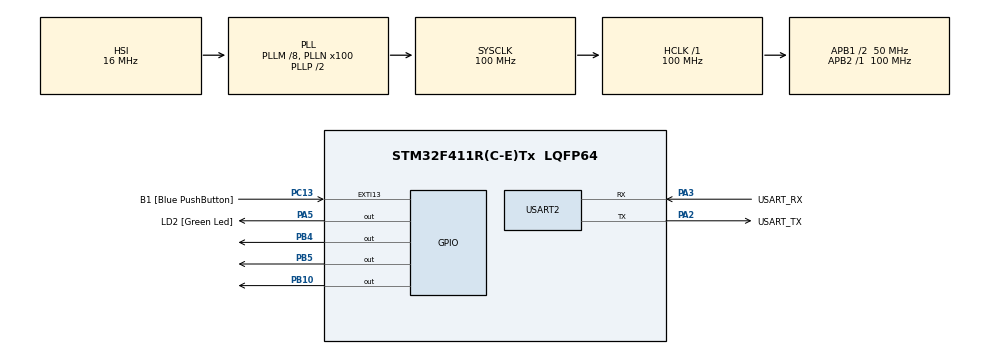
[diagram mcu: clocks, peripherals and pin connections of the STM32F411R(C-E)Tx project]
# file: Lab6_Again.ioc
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FREERTOS.Mutexes01=myMutex01,Dynamic,NULL
FREERTOS.Queues01=myQueue01,16,32,1,Static,myQueue01Buffer,myQueue01ControlBlock
FREERTOS.Tasks01=defaultTask,24,128,StartDefaultTask,Default,NULL,Dynamic,NULL,NULL
FREERTOS.Timers01=myTimer01,Callback01,osTimerPeriodic,Default,NULL,Dynamic,NULL;myTimer02,Callback02,osTimerPeriodic,Default,NULL,Dynamic,NULL;myTimer03,Callback03,osTimerPeriodic,Default,NULL,Dynamic,NULL;myTimer04,Callback04,osTimerPeriodic,Default,NULL,Dynamic,NULL
Mcu.Family=STM32F4
Mcu.Name=STM32F411R(C-E)Tx
Mcu.Package=LQFP64
NVIC.PriorityGroup=NVIC_PRIORITYGROUP_4
PA13.GPIO_Label=TMS
PA13.Mode=Serial_Wire
PA13.Signal=SYS_JTMS-SWDIO
PA14.GPIO_Label=TCK
PA14.Mode=Serial_Wire
PA14.Signal=SYS_JTCK-SWCLK
PA2.GPIO_Label=USART_TX
PA2.Mode=Asynchronous
PA2.Signal=USART2_TX
PA3.GPIO_Label=USART_RX
PA3.Mode=Asynchronous
PA3.Signal=USART2_RX
PA5.GPIO_Label=LD2 [Green Led]
PA5.Signal=GPIO_Output
PB10.Signal=GPIO_Output
PB3.GPIO_Label=SWO
PB3.Signal=SYS_JTDO-SWO
PB4.Signal=GPIO_Output
PB5.Signal=GPIO_Output
PC13-ANTI_TAMP.GPIO_Label=B1 [Blue PushButton]
PC13-ANTI_TAMP.GPIO_ModeDefaultEXTI=GPIO_MODE_IT_FALLING
PC13-ANTI_TAMP.Signal=GPXTI13
PC14-OSC32_IN.Mode=LSE-External-Oscillator
PC14-OSC32_IN.Signal=RCC_OSC32_IN
PC15-OSC32_OUT.Mode=LSE-External-Oscillator
PC15-OSC32_OUT.Signal=RCC_OSC32_OUT
PH0\ -\ OSC_IN.Mode=HSE-External-Clock-Source
PH0\ -\ OSC_IN.Signal=RCC_OSC_IN
PH1\ -\ OSC_OUT.Mode=HSE-External-Clock-Source
PH1\ -\ OSC_OUT.Signal=RCC_OSC_OUT
ProjectManager.HeapSize=0x200
ProjectManager.StackSize=0x400
ProjectManager.TargetToolchain=STM32CubeIDE
RCC.48MHZClocksFreq_Value=50000000
RCC.AHBFreq_Value=100000000
RCC.APB1CLKDivider=RCC_HCLK_DIV2
RCC.APB1Freq_Value=50000000
RCC.APB1TimFreq_Value=100000000
RCC.APB2Freq_Value=100000000
RCC.APB2TimFreq_Value=100000000
RCC.CortexFreq_Value=100000000
RCC.FLatency-AdvancedSettings=FLASH_LATENCY_3
RCC.HCLKFreq_Value=100000000
RCC.HSE_VALUE=8000000
RCC.HSI_VALUE=16000000
RCC.PLLM=8
RCC.PLLN=100
RCC.SYSCLKFreq_VALUE=100000000
RCC.SYSCLKSource=RCC_SYSCLKSOURCE_PLLCLK
RCC.VCOOutputFreq_Value=200000000
USART2.VirtualMode=VM_ASYNC
VP_FREERTOS_VS_CMSIS_V2.Mode=CMSIS_V2
board=NUCLEO-F411RE

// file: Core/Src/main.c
/* USER CODE BEGIN Header */
/**
  ******************************************************************************
  * @file           : main.c
  * @brief          : Main program body
  ******************************************************************************
  * @attention
  *
  * Copyright (c) 2023 STMicroelectronics.
  * All rights reserved.
  *
  * This software is licensed under terms that can be found in the LICENSE file
  * in the root directory of this software component.
  * If no LICENSE file comes with this software, it is provided AS-IS.
  *
  ******************************************************************************
  */
/* USER CODE END Header */
#include "main.h"
#include "cmsis_os.h"

typedef StaticQueue_t osStaticMessageQDef_t;

UART_HandleTypeDef huart2;

/* Definitions for defaultTask */
osThreadId_t defaultTaskHandle;
const osThreadAttr_t defaultTask_attributes = {
  .name = "defaultTask",
  .stack_size = 128 * 4,
  .priority = (osPriority_t) osPriorityNormal,
};
/* Definitions for myQueue01 */
osMessageQueueId_t myQueue01Handle;
uint8_t myQueue01Buffer[ 16 * 32 ];
osStaticMessageQDef_t myQueue01ControlBlock;
const osMessageQueueAttr_t myQueue01_attributes = {
  .name = "myQueue01",
  .cb_mem = &myQueue01ControlBlock,
  .cb_size = sizeof(myQueue01ControlBlock),
  .mq_mem = &myQueue01Buffer,
  .mq_size = sizeof(myQueue01Buffer)
};
/* Definitions for myTimer01 */
osTimerId_t myTimer01Handle;
const osTimerAttr_t myTimer01_attributes = {
  .name = "myTimer01"
};
/* Definitions for myTimer02 */
osTimerId_t myTimer02Handle;
const osTimerAttr_t myTimer02_attributes = {
  .name = "myTimer02"
};
/* Definitions for myTimer03 */
osTimerId_t myTimer03Handle;
const osTimerAttr_t myTimer03_attributes = {
  .name = "myTimer03"
};
/* Definitions for myTimer04 */
osTimerId_t myTimer04Handle;
const osTimerAttr_t myTimer04_attributes = {
  .name = "myTimer04"
};
/* Definitions for myMutex01 */
osMutexId_t myMutex01Handle;
const osMutexAttr_t myMutex01_attributes = {
  .name = "myMutex01"
};

void SystemClock_Config(void);
static void MX_GPIO_Init(void);
static void MX_USART2_UART_Init(void);
void StartDefaultTask(void *argument);
void Callback01(void *argument);
void Callback02(void *argument);
void Callback03(void *argument);
void Callback04(void *argument);

/* USER CODE BEGIN PFP */
void LED1_Thread(void *argument){
//	Lab 6-1
	while(1){
		HAL_GPIO_TogglePin(GPIOA, GPIO_PIN_5);
		osDelay(50);
	}
}
void LED2_Thread(void *argument){
//	Lab 6-1
	while(1){
		HAL_GPIO_TogglePin(GPIOB, GPIO_PIN_10);
		osDelay(18);
	}
}
void LED3_Thread(void *argument){
//	Lab 6-1
	while(1){
		HAL_GPIO_TogglePin(GPIOB, GPIO_PIN_4);
		osDelay(128);
	}
}
void LED4_Thread(void *argument){
//	Lab 6-1
	while(1){
		HAL_GPIO_TogglePin(GPIOB, GPIO_PIN_5);
		osDelay(64);
	}
}
void UART0_Thread(void *argument){
	int threadID = 0; // threadID is 0 for one thread and 1 for another
	int idx = 0;
	char buffer[32];
	while(1) {
//		osMutexWait(myMutex01Handle,osWaitForever);
		sprintf(buffer, "TID: %d %d\r\n", threadID, idx);
		idx ++;
//		HAL_UART_Transmit(&huart2, buffer, strlen(buffer), 1000);
//		osMutexRelease(myMutex01Handle);
		osDelay(10);
		osMessageQueuePut(myQueue01Handle, buffer, 0, 0);
	}
}
void UART1_Thread(void *argument){
	int threadID = 1; // threadID is 0 for one thread and 1 for another
	int idx = 0;
	char buffer[32];
	while(1) {
//		osMutexWait(myMutex01Handle,osWaitForever);
		sprintf(buffer, "TID: %d %d\r\n", threadID, idx);
		idx ++;
//		HAL_UART_Transmit(&huart2, buffer, strlen(buffer), 1000);
//		osMutexRelease(myMutex01Handle);
		osDelay(10);
		osMessageQueuePut(myQueue01Handle, buffer, 0, 0);
	}
}
void Queue_Thread(void *argument){
	while(1){
		char buffer[32];
		osStatus_t status = osMessageQueueGet(myQueue01Handle, buffer, NULL, 0);
		if(status == osOK){
			HAL_UART_Transmit(&huart2, buffer, strlen(buffer), 1000);
		}
	}
}
/* USER CODE END PFP */

int main(void)
{

  /* MCU Configuration--------------------------------------------------------*/

  /* Reset of all peripherals, Initializes the Flash interface and the Systick. */
  HAL_Init();

  /* Configure the system clock */
  SystemClock_Config();

  /* Initialize all configured peripherals */
  MX_GPIO_Init();
  MX_USART2_UART_Init();

  /* Init scheduler */
  osKernelInitialize();
  /* Create the mutex(es) */
  /* creation of myMutex01 */
  myMutex01Handle = osMutexNew(&myMutex01_attributes);

  /* Create the timer(s) */
  /* creation of myTimer01 */
  myTimer01Handle = osTimerNew(Callback01, osTimerPeriodic, NULL, &myTimer01_attributes);

  /* creation of myTimer02 */
  myTimer02Handle = osTimerNew(Callback02, osTimerPeriodic, NULL, &myTimer02_attributes);

  /* creation of myTimer03 */
  myTimer03Handle = osTimerNew(Callback03, osTimerPeriodic, NULL, &myTimer03_attributes);

  /* creation of myTimer04 */
  myTimer04Handle = osTimerNew(Callback04, osTimerPeriodic, NULL, &myTimer04_attributes);

  /* Create the queue(s) */
  /* creation of myQueue01 */
  myQueue01Handle = osMessageQueueNew (16, 32, &myQueue01_attributes);

  /* Create the thread(s) */
  /* creation of defaultTask */
  defaultTaskHandle = osThreadNew(StartDefaultTask, NULL, &defaultTask_attributes);

  /* USER CODE BEGIN RTOS_THREADS */
  /* add threads, ... */
//  Lab 6-1
  osThreadId_t thread_led1 = osThreadNew(LED1_Thread, NULL, NULL);
  osThreadId_t thread_led2 = osThreadNew(LED2_Thread, NULL, NULL);
  osThreadId_t thread_led3 = osThreadNew(LED3_Thread, NULL, NULL);
  osThreadId_t thread_led4 = osThreadNew(LED4_Thread, NULL, NULL);
//  Lab 6-2
//  osTimerStart(myTimer01Handle, 50);
//  osTimerStart(myTimer02Handle, 18);
//  osTimerStart(myTimer03Handle, 128);
//  osTimerStart(myTimer04Handle, 64);
//  Lab 6-3
  osThreadId_t thread_UART0 = osThreadNew(UART0_Thread, NULL, NULL);
  osThreadId_t thread_UART1 = osThreadNew(UART1_Thread, NULL, NULL);
//  Lab 6-4
  osThreadId_t thread_Queue = osThreadNew(Queue_Thread, NULL, NULL);
  /* USER CODE END RTOS_THREADS */

  /* Start scheduler */
  osKernelStart();
  /* We should never get here as control is now taken by the scheduler */
  /* Infinite loop */
  while (1)
  {

  }
}

void SystemClock_Config(void)
{
  RCC_OscInitTypeDef RCC_OscInitStruct = {0};
  RCC_ClkInitTypeDef RCC_ClkInitStruct = {0};

  /** Configure the main internal regulator output voltage
  */
  __HAL_RCC_PWR_CLK_ENABLE();
  __HAL_PWR_VOLTAGESCALING_CONFIG(PWR_REGULATOR_VOLTAGE_SCALE1);

  /** Initializes the RCC Oscillators according to the specified parameters
  * in the RCC_OscInitTypeDef structure.
  */
  RCC_OscInitStruct.OscillatorType = RCC_OSCILLATORTYPE_HSI;
  RCC_OscInitStruct.HSIState = RCC_HSI_ON;
  RCC_OscInitStruct.HSICalibrationValue = RCC_HSICALIBRATION_DEFAULT;
  RCC_OscInitStruct.PLL.PLLState = RCC_PLL_ON;
  RCC_OscInitStruct.PLL.PLLSource = RCC_PLLSOURCE_HSI;
  RCC_OscInitStruct.PLL.PLLM = 8;
  RCC_OscInitStruct.PLL.PLLN = 100;
  RCC_OscInitStruct.PLL.PLLP = RCC_PLLP_DIV2;
  RCC_OscInitStruct.PLL.PLLQ = 4;
  if (HAL_RCC_OscConfig(&RCC_OscInitStruct) != HAL_OK)
  {
    Error_Handler();
  }

  /** Initializes the CPU, AHB and APB buses clocks
  */
  RCC_ClkInitStruct.ClockType = RCC_CLOCKTYPE_HCLK|RCC_CLOCKTYPE_SYSCLK
                              |RCC_CLOCKTYPE_PCLK1|RCC_CLOCKTYPE_PCLK2;
  RCC_ClkInitStruct.SYSCLKSource = RCC_SYSCLKSOURCE_PLLCLK;
  RCC_ClkInitStruct.AHBCLKDivider = RCC_SYSCLK_DIV1;
  RCC_ClkInitStruct.APB1CLKDivider = RCC_HCLK_DIV2;
  RCC_ClkInitStruct.APB2CLKDivider = RCC_HCLK_DIV1;

  if (HAL_RCC_ClockConfig(&RCC_ClkInitStruct, FLASH_LATENCY_3) != HAL_OK)
  {
    Error_Handler();
  }
}

static void MX_USART2_UART_Init(void)
{

  huart2.Instance = USART2;
  huart2.Init.BaudRate = 115200;
  huart2.Init.WordLength = UART_WORDLENGTH_8B;
  huart2.Init.StopBits = UART_STOPBITS_1;
  huart2.Init.Parity = UART_PARITY_NONE;
  huart2.Init.Mode = UART_MODE_TX_RX;
  huart2.Init.HwFlowCtl = UART_HWCONTROL_NONE;
  huart2.Init.OverSampling = UART_OVERSAMPLING_16;
  if (HAL_UART_Init(&huart2) != HAL_OK)
  {
    Error_Handler();
  }

}

static void MX_GPIO_Init(void)
{
  GPIO_InitTypeDef GPIO_InitStruct = {0};

  /* GPIO Ports Clock Enable */
  __HAL_RCC_GPIOC_CLK_ENABLE();
  __HAL_RCC_GPIOH_CLK_ENABLE();
  __HAL_RCC_GPIOA_CLK_ENABLE();
  __HAL_RCC_GPIOB_CLK_ENABLE();

  /*Configure GPIO pin Output Level */
  HAL_GPIO_WritePin(LD2_GPIO_Port, LD2_Pin, GPIO_PIN_RESET);

  /*Configure GPIO pin Output Level */
  HAL_GPIO_WritePin(GPIOB, GPIO_PIN_10|GPIO_PIN_4|GPIO_PIN_5, GPIO_PIN_RESET);

  /*Configure GPIO pin : B1_Pin */
  GPIO_InitStruct.Pin = B1_Pin;
  GPIO_InitStruct.Mode = GPIO_MODE_IT_FALLING;
  GPIO_InitStruct.Pull = GPIO_NOPULL;
  HAL_GPIO_Init(B1_GPIO_Port, &GPIO_InitStruct);

  /*Configure GPIO pin : LD2_Pin */
  GPIO_InitStruct.Pin = LD2_Pin;
  GPIO_InitStruct.Mode = GPIO_MODE_OUTPUT_PP;
  GPIO_InitStruct.Pull = GPIO_NOPULL;
  GPIO_InitStruct.Speed = GPIO_SPEED_FREQ_LOW;
  HAL_GPIO_Init(LD2_GPIO_Port, &GPIO_InitStruct);

  /*Configure GPIO pins : PB10 PB4 PB5 */
  GPIO_InitStruct.Pin = GPIO_PIN_10|GPIO_PIN_4|GPIO_PIN_5;
  GPIO_InitStruct.Mode = GPIO_MODE_OUTPUT_PP;
  GPIO_InitStruct.Pull = GPIO_NOPULL;
  GPIO_InitStruct.Speed = GPIO_SPEED_FREQ_LOW;
  HAL_GPIO_Init(GPIOB, &GPIO_InitStruct);

}

void StartDefaultTask(void *argument)
{
  for(;;)
  {
    osDelay(1);
  }
}

/* Callback01 function */
void Callback01(void *argument)
{
  /* USER CODE BEGIN Callback01 */
	HAL_GPIO_TogglePin(GPIOA, GPIO_PIN_5);
  /* USER CODE END Callback01 */
}

/* Callback02 function */
void Callback02(void *argument)
{
  /* USER CODE BEGIN Callback02 */
	HAL_GPIO_TogglePin(GPIOB, GPIO_PIN_10);
  /* USER CODE END Callback02 */
}

/* Callback03 function */
void Callback03(void *argument)
{
  /* USER CODE BEGIN Callback03 */
	HAL_GPIO_TogglePin(GPIOB, GPIO_PIN_4);
  /* USER CODE END Callback03 */
}

/* Callback04 function */
void Callback04(void *argument)
{
  /* USER CODE BEGIN Callback04 */
	HAL_GPIO_TogglePin(GPIOB, GPIO_PIN_5);
  /* USER CODE END Callback04 */
}

void Error_Handler(void)
{
  __disable_irq();
  while (1)
  {
  }
}
